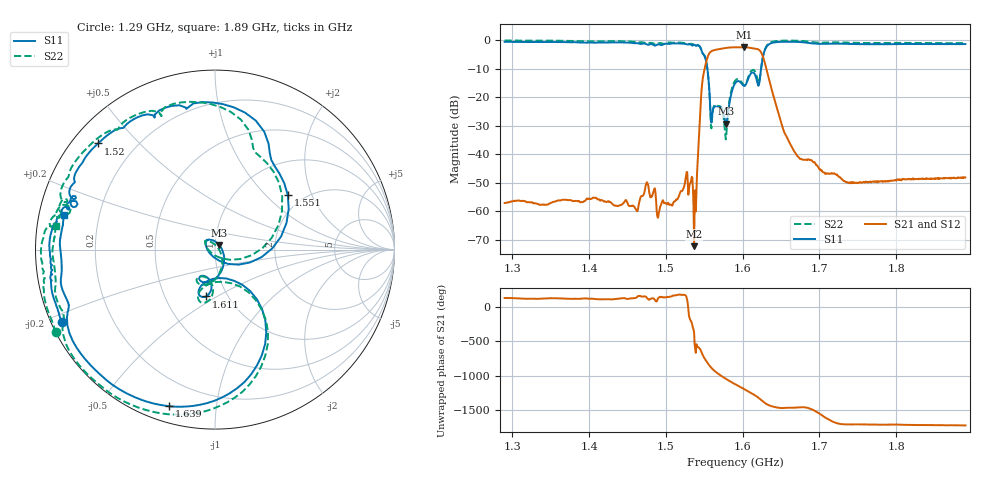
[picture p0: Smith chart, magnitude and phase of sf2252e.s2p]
# Hz S RI R 50
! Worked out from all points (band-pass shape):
!   801 points, 1.29 GHz to 1.89 GHz, reference 50 ohm
!   highest |S21| = -2.35 dB at 1.602 GHz (marker M1); lowest = -72.3 dB at 1.537 GHz (marker M2)
!   |S21| within 3 dB of the highest: 1.555 GHz to 1.626 GHz (70.89 MHz wide, 4.46 % of centre)
!   lowest |S11| = -29.3 dB at 1.578 GHz (marker M3), VSWR 1.07, Z = 52.2 + j2.76 ohm
!   |S11| at or under -10 dB: 1.554 GHz to 1.624 GHz (69.89 MHz wide, 4.4 % of centre)
!   |S22| runs from -34.7 to 0.0 dB; largest |S21 - S12| = 0.00047
!   S11 on the Smith chart (normalised r, x): 1.29 GHz: 0.03, -0.22; 1.52 GHz: 0.07, +0.38; 1.551 GHz: 1.67, +1.36; 1.611 GHz: 0.80, -0.45; 1.639 GHz: 0.07, -0.75; 1.89 GHz: 0.07, +0.11
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1.29e9  -0.8551 -0.4036  -0.000746 0.00117  -0.00074 0.00117  -0.8862 -0.4614
1.3905e9  -0.9133 -0.1303  -0.000601 0.00131  -0.000593 0.00132  -0.9531 -0.1831
1.461e9  -0.8829 0.1644  -0.000637 0.000873  -0.000646 0.000871  -0.9239 0.1317
1.47525e9  -0.8139 0.2361  -0.00184 0.00265  -0.00183 0.00265  -0.8645 0.181
1.49025e9  -0.8069 0.2715  -0.000444 0.000678  -0.000441 0.000684  -0.8635 0.2128
1.52025e9  -0.6517 0.5914  -0.00221 0.000488  -0.00221 0.000498  -0.7164 0.5628
1.53675e9  -0.2781 0.7904  0.000229 -8.11e-05  0.000226 -7.62e-05  -0.3137 0.7673
1.551e9  0.4057 0.3028  0.2564 -0.233  0.2565 -0.2329  0.3565 0.373
1.5555e9  0.1941 -0.0721  -0.2399 -0.5047  -0.2398 -0.5048  0.2031 -0.032
1.5615e9  -0.0512 0.0352  -0.6505 0.1437  -0.6502 0.1437  -0.0544 0.0316
1.569e9  -0.0446 0.0505  -0.1191 0.6922  -0.1191 0.6922  -0.0537 0.0457
1.578e9  0.0219 0.0264  0.6071 0.4192  0.6069 0.419  0.0147 0.011
1.59e9  -0.0193 -0.1746  0.5601 -0.5111  0.5604 -0.5108  -0.038 -0.1911
1.602e9  -0.0568 -0.1478  -0.3201 -0.6925  -0.3199 -0.6925  -0.0594 -0.1517
1.611e9  -0.0482 -0.2607  -0.7267 -0.1077  -0.7266 -0.1079  -0.0386 -0.2866
1.62225e9  0.1077 -0.1744  -0.167 0.6438  -0.1671 0.6437  0.091 -0.1876
1.62825e9  0.2609 -0.5887  0.2822 0.3245  0.2821 0.3246  0.2795 -0.5925
1.63875e9  -0.2553 -0.8726  0.1222 -0.012  0.1223 -0.0119  -0.2286 -0.9191
1.665e9  -0.7443 -0.5846  0.0116 -0.0052  0.0116 -0.00522  -0.7511 -0.6505
1.6905e9  -0.8172 -0.3389  0.00489 -0.00589  0.00488 -0.00591  -0.8446 -0.4007
1.79025e9  -0.859 -0.0195  -0.000209 0.00332  -0.0002 0.00332  -0.8978 -0.0767
1.89e9  -0.8417 0.1913  0.000662 0.00386  0.000666 0.00385  -0.8879 0.134
